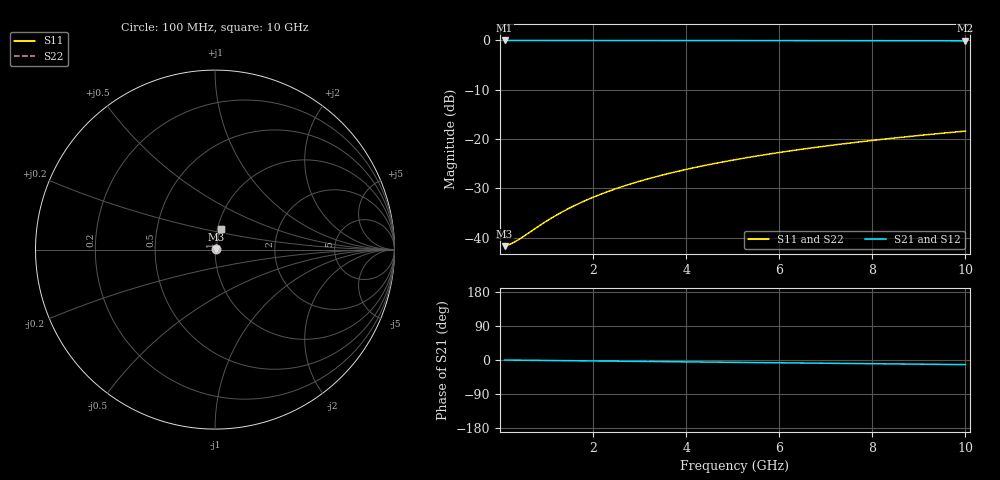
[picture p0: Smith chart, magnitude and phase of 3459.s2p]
# Hz S RI R 50.00
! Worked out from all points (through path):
!   100 points, 100 MHz to 10 GHz, reference 50 ohm
!   highest |S21| = -0.07 dB at 100 MHz (marker M1); lowest = -0.1 dB at 10 GHz (marker M2)
!   group delay of S21, straight-line fit = 3.38 ps
!   lowest |S11| = -41.7 dB at 100 MHz (marker M3), VSWR 1.02, Z = 50.8 + j0.122 ohm
!   |S11| at or under -10 dB: start of sweep to end of sweep
!   |S22| runs from -41.7 to -18.4 dB; largest |S21 - S12| = 0
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1e8  0.00814 0.0012  0.9919 -0.00212  0.9919 -0.00212  0.00814 0.0012
2e8  0.0082 0.00239  0.9918 -0.00423  0.9918 -0.00423  0.0082 0.00239
3e8  0.00826 0.00359  0.9917 -0.00635  0.9917 -0.00635  0.00826 0.00359
4e8  0.00831 0.00478  0.9917 -0.00847  0.9917 -0.00847  0.00831 0.00478
9e8  0.00858 0.0107  0.9914 -0.019  0.9914 -0.019  0.00858 0.0107
1.2e9  0.00879 0.0143  0.9911 -0.0254  0.9911 -0.0254  0.00879 0.0143
1.5e9  0.00903 0.0179  0.9909 -0.0317  0.9909 -0.0317  0.00903 0.0179
1.8e9  0.00932 0.0215  0.9905 -0.0381  0.9905 -0.0381  0.00932 0.0215
2.1e9  0.00965 0.025  0.9901 -0.0444  0.9901 -0.0444  0.00965 0.025
2.5e9  0.0102 0.0298  0.9896 -0.0528  0.9896 -0.0528  0.0102 0.0298
2.9e9  0.0107 0.0345  0.9889 -0.0613  0.9889 -0.0613  0.0107 0.0345
3.4e9  0.0116 0.0404  0.9879 -0.0718  0.9879 -0.0718  0.0116 0.0404
3.8e9  0.0123 0.0451  0.987 -0.0802  0.987 -0.0802  0.0123 0.0451
4.2e9  0.0132 0.0498  0.986 -0.0886  0.986 -0.0886  0.0132 0.0498
4.6e9  0.0141 0.0545  0.985 -0.0969  0.985 -0.0969  0.0141 0.0545
5.1e9  0.0154 0.0603  0.9835 -0.1073  0.9835 -0.1073  0.0154 0.0603
5.9e9  0.0176 0.0696  0.9808 -0.124  0.9808 -0.124  0.0176 0.0696
6.7e9  0.0202 0.0787  0.9778 -0.1405  0.9778 -0.1405  0.0202 0.0787
7.5e9  0.0231 0.0877  0.9745 -0.1569  0.9745 -0.1569  0.0231 0.0877
8.4e9  0.0267 0.0978  0.9702 -0.1753  0.9702 -0.1753  0.0267 0.0978
9.2e9  0.0302 0.1065  0.9661 -0.1915  0.9661 -0.1915  0.0302 0.1065
1e10  0.034 0.1152  0.9617 -0.2075  0.9617 -0.2075  0.034 0.1152
